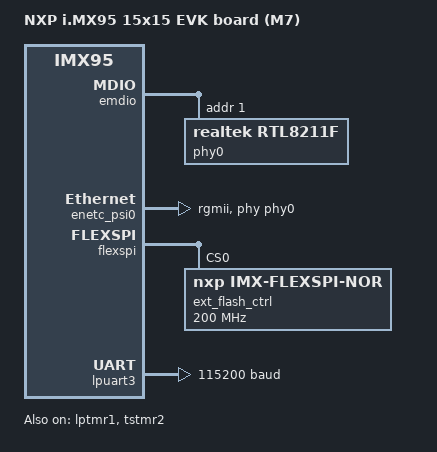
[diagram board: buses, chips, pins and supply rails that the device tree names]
/*
 * Copyright 2026 NXP
 *
 * SPDX-License-Identifier: Apache-2.0
 */

/dts-v1/;

#include <nxp/imx/nxp_imx95_m7.dtsi>
#include "imx95_evk_15x15-pinctrl.dtsi"

/ {
	compatible = "nxp,imx95_evk_15x15";
	model = "NXP i.MX95 15x15 EVK board (M7)";

	chosen {
		/* TCM */
		zephyr,flash = &itcm;
		zephyr,sram = &dtcm;

		zephyr,flash-controller = &ext_flash_ctrl;
		zephyr,console = &lpuart3;
		zephyr,shell-uart = &lpuart3;
	};
};

/* Enable eDMA used by LPUART async API tests (LPUART dmas -> &edma2). */
&edma2 {
	status = "okay";
};

/* Mirror the EVK M7 defaults */
&emdio {
	pinctrl-0 = <&emdio_default>;
	pinctrl-names = "default";
	status = "okay";

	phy0: phy@1 {
		compatible = "realtek,rtl8211f";
		reg = <0x1>;
		status = "okay";
	};
};

&enetc_psi0 {
	local-mac-address = [00 00 00 01 02 00];
	pinctrl-0 = <&eth0_default>;
	pinctrl-names = "default";
	phy-handle = <&phy0>;
	phy-connection-type = "rgmii";
	status = "okay";
};

&enetc_ptp_clock {
	status = "okay";
};

&flexspi {
	ahb-prefetch;
	ahb-read-addr-opt;
	rx-clock-source = <1>;
	pinctrl-0 = <&flexspi_default>;
	pinctrl-names = "default";
	status = "okay";

	ext_flash_ctrl: flash-controller@0 {
		compatible = "nxp,imx-flexspi-nor";
		reg = <0>;
		ranges = <0x0 0x28000000 DT_SIZE_M(128)>;
		size = <DT_SIZE_M(1024)>;
		spi-max-frequency = <DT_FREQ_M(200)>;
		jedec-id = [2c 5b 1b];

		#address-cells = <1>;
		#size-cells = <1>;
		status = "okay";

		mt35xu01gbba: flash@0 {
			compatible = "soc-nv-flash";
			reg = <0x0 DT_SIZE_M(128)>;
			erase-block-size = <DT_SIZE_K(4)>;
			write-block-size = <2>;
		};
	};
};

/* Enable UART used by chosen zephyr,console / zephyr,shell-uart */
&lpuart3 {
	current-speed = <115200>;
	pinctrl-0 = <&lpuart3_default>;
	pinctrl-names = "default";
	status = "okay";
};

&lptmr1 {
	status = "okay";
};

&tstmr2 {
	status = "okay";
};
